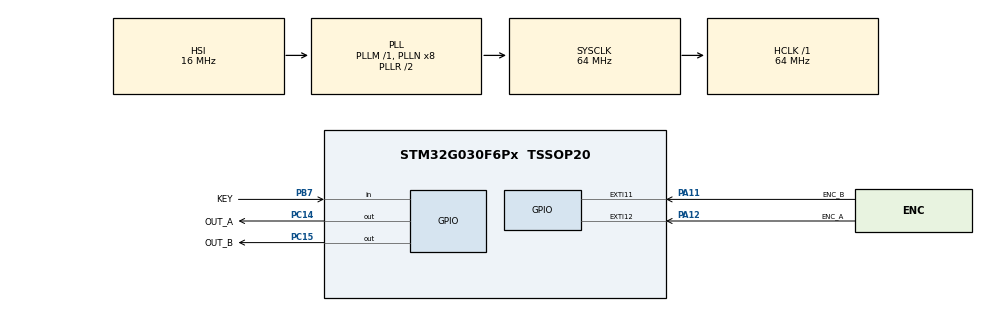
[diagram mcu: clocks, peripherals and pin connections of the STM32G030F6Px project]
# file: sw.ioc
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IWDG.Prescaler=IWDG_PRESCALER_4
IWDG.Reload=256
IWDG.Window=256
Mcu.Family=STM32G0
Mcu.Name=STM32G030F6Px
Mcu.Package=TSSOP20
NVIC.EXTI4_15_IRQn=true\:0\:0\:false\:false\:true\:true\:true\:true
PA11\ [PA9].GPIO_Label=ENC_B
PA11\ [PA9].GPIO_ModeDefaultEXTI=GPIO_MODE_IT_RISING_FALLING
PA11\ [PA9].GPIO_PuPd=GPIO_PULLUP
PA11\ [PA9].Signal=GPXTI11
PA12\ [PA10].GPIO_Label=ENC_A
PA12\ [PA10].GPIO_ModeDefaultEXTI=GPIO_MODE_IT_RISING_FALLING
PA12\ [PA10].GPIO_PuPd=GPIO_PULLUP
PA12\ [PA10].Signal=GPXTI12
PA13.Mode=Serial_Wire
PA13.Signal=SYS_SWDIO
PA14-BOOT0.Mode=Serial_Wire
PA14-BOOT0.Signal=SYS_SWCLK
PA14-BOOT0__PA15.StandardMode=true
PB0__PB1__PB2__PA8.StandardMode=true
PB3__PB4__PB5__PB6.StandardMode=true
PB7.GPIO_Label=KEY
PB7.GPIO_PuPd=GPIO_PULLUP
PB7.Signal=GPIO_Input
PB7__PB8.StandardMode=true
PC14-OSC32_IN\ (PC14).GPIO_Label=OUT_A
PC14-OSC32_IN\ (PC14).GPIO_ModeDefaultOutputPP=GPIO_MODE_OUTPUT_PP
PC14-OSC32_IN\ (PC14).GPIO_PuPd=GPIO_NOPULL
PC14-OSC32_IN\ (PC14).PinState=GPIO_PIN_RESET
PC14-OSC32_IN\ (PC14).Signal=GPIO_Output
PC14-OSC32_IN\ (PC14)__PB9.StandardMode=true
PC15-OSC32_OUT\ (PC15).GPIO_Label=OUT_B
PC15-OSC32_OUT\ (PC15).PinState=GPIO_PIN_RESET
PC15-OSC32_OUT\ (PC15).Signal=GPIO_Output
ProjectManager.HeapSize=0x400
ProjectManager.StackSize=0x400
ProjectManager.TargetToolchain=MDK-ARM V5.32
RCC.ADCFreq_Value=64000000
RCC.AHBFreq_Value=64000000
RCC.CortexFreq_Value=64000000
RCC.EXTERNAL_CLOCK_VALUE=12288000
RCC.HCLKFreq_Value=64000000
RCC.HSE_VALUE=8000000
RCC.HSI_VALUE=16000000
RCC.LSE_VALUE=32768
RCC.SYSCLKFreq_VALUE=64000000
RCC.SYSCLKSource=RCC_SYSCLKSOURCE_PLLCLK
RCC.VCOOutputFreq_Value=128000000
VP_IWDG_VS_IWDG.Mode=IWDG_Activate
board=custom

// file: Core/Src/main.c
/* USER CODE BEGIN Header */
/**
  ******************************************************************************
  * @file           : main.c
  * @brief          : Main program body
  ******************************************************************************
  * @attention
  *
  * Copyright (c) 2023 STMicroelectronics.
  * All rights reserved.
  *
  * This software is licensed under terms that can be found in the LICENSE file
  * in the root directory of this software component.
  * If no LICENSE file comes with this software, it is provided AS-IS.
  *
  ******************************************************************************
  */
/* USER CODE END Header */
#include "main.h"

 IWDG_HandleTypeDef hiwdg;

void SystemClock_Config(void);
static void MX_GPIO_Init(void);
static void MX_IWDG_Init(void);

/* USER CODE BEGIN 0 */

volatile int16_t input_enc_count;
int16_t input_enc_count_temp;
int16_t input_enc_count_bak;

volatile int16_t enc_count = 0;
volatile uint8_t output_enc_step = 0;
volatile int8_t output_enc_count = 0;

void enc_out_task(void){

	if(enc_count > 10)enc_count = 10;
	if(enc_count < -10)enc_count = -10;

	if(output_enc_step > 3)output_enc_step = 0;

	//output step
	if(output_enc_count != 0 && output_enc_count < 3 && output_enc_count > -3){
		if(output_enc_count > 0){
			output_enc_count--;
			if(output_enc_step < 3)
				output_enc_step++;
			else
				output_enc_step = 0;
		}
		else{
			output_enc_count++;
			if(output_enc_step == 0)
				output_enc_step = 3;
			else
				output_enc_step--;
		}

		switch(output_enc_step){
			case 0:
				OUT_A_GPIO_Port->BRR = OUT_A_Pin;	//0
				OUT_B_GPIO_Port->BRR = OUT_B_Pin;	//0
				break;
			case 1:
				OUT_A_GPIO_Port->BRR = OUT_A_Pin;	//0
				OUT_B_GPIO_Port->BSRR = OUT_B_Pin;	//1
				break;
			case 2:
				OUT_A_GPIO_Port->BSRR = OUT_A_Pin;	//1
				OUT_B_GPIO_Port->BSRR = OUT_B_Pin;	//1
				break;
			case 3:
				OUT_A_GPIO_Port->BSRR = OUT_A_Pin;	//1
				OUT_B_GPIO_Port->BRR = OUT_B_Pin;	//0
				break;
		}

		return;
	}

	if(enc_count > 0){
		enc_count--;
		output_enc_count = 2;
	}
	else if(enc_count < 0){
		enc_count++;
		output_enc_count = -2;
	}

}

/* USER CODE END 0 */

int main(void)
{

  /* MCU Configuration--------------------------------------------------------*/

  /* Reset of all peripherals, Initializes the Flash interface and the Systick. */
  HAL_Init();

  /* Configure the system clock */
  SystemClock_Config();

  /* Initialize all configured peripherals */
  MX_GPIO_Init();
  MX_IWDG_Init();

  /* Infinite loop */
  /* USER CODE BEGIN WHILE */
  while (1)
  {
		HAL_IWDG_Refresh(&hiwdg);
//		input_enc_count_temp  = input_enc_count/2;
//		if(input_enc_count_bak != input_enc_count_temp){
//			enc_count += input_enc_count_temp - input_enc_count_bak;
//			input_enc_count_bak += input_enc_count_temp - input_enc_count_bak;
//		}
		if((input_enc_count - 2) >= input_enc_count_bak){
			enc_count--;
			input_enc_count_bak += 2;
		}
		else if((input_enc_count + 2) <= input_enc_count_bak){
			enc_count++;
			input_enc_count_bak -= 2;
		}
		enc_out_task();
		HAL_Delay(1);
    /* USER CODE END WHILE */

  }
}

void SystemClock_Config(void)
{
  RCC_OscInitTypeDef RCC_OscInitStruct = {0};
  RCC_ClkInitTypeDef RCC_ClkInitStruct = {0};

  /** Configure the main internal regulator output voltage
  */
  HAL_PWREx_ControlVoltageScaling(PWR_REGULATOR_VOLTAGE_SCALE1);

  /** Initializes the RCC Oscillators according to the specified parameters
  * in the RCC_OscInitTypeDef structure.
  */
  RCC_OscInitStruct.OscillatorType = RCC_OSCILLATORTYPE_HSI|RCC_OSCILLATORTYPE_LSI;
  RCC_OscInitStruct.HSIState = RCC_HSI_ON;
  RCC_OscInitStruct.HSIDiv = RCC_HSI_DIV1;
  RCC_OscInitStruct.HSICalibrationValue = RCC_HSICALIBRATION_DEFAULT;
  RCC_OscInitStruct.LSIState = RCC_LSI_ON;
  RCC_OscInitStruct.PLL.PLLState = RCC_PLL_ON;
  RCC_OscInitStruct.PLL.PLLSource = RCC_PLLSOURCE_HSI;
  RCC_OscInitStruct.PLL.PLLM = RCC_PLLM_DIV1;
  RCC_OscInitStruct.PLL.PLLN = 8;
  RCC_OscInitStruct.PLL.PLLP = RCC_PLLP_DIV2;
  RCC_OscInitStruct.PLL.PLLR = RCC_PLLR_DIV2;
  if (HAL_RCC_OscConfig(&RCC_OscInitStruct) != HAL_OK)
  {
    Error_Handler();
  }

  /** Initializes the CPU, AHB and APB buses clocks
  */
  RCC_ClkInitStruct.ClockType = RCC_CLOCKTYPE_HCLK|RCC_CLOCKTYPE_SYSCLK
                              |RCC_CLOCKTYPE_PCLK1;
  RCC_ClkInitStruct.SYSCLKSource = RCC_SYSCLKSOURCE_PLLCLK;
  RCC_ClkInitStruct.AHBCLKDivider = RCC_SYSCLK_DIV1;
  RCC_ClkInitStruct.APB1CLKDivider = RCC_HCLK_DIV1;

  if (HAL_RCC_ClockConfig(&RCC_ClkInitStruct, FLASH_LATENCY_2) != HAL_OK)
  {
    Error_Handler();
  }
}

static void MX_IWDG_Init(void)
{

  hiwdg.Instance = IWDG;
  hiwdg.Init.Prescaler = IWDG_PRESCALER_4;
  hiwdg.Init.Window = 256;
  hiwdg.Init.Reload = 256;
  if (HAL_IWDG_Init(&hiwdg) != HAL_OK)
  {
    Error_Handler();
  }

}

static void MX_GPIO_Init(void)
{
  GPIO_InitTypeDef GPIO_InitStruct = {0};

  /* GPIO Ports Clock Enable */
  __HAL_RCC_GPIOB_CLK_ENABLE();
  __HAL_RCC_GPIOC_CLK_ENABLE();
  __HAL_RCC_GPIOA_CLK_ENABLE();

  /*Configure GPIO pin Output Level */
  HAL_GPIO_WritePin(GPIOC, OUT_A_Pin|OUT_B_Pin, GPIO_PIN_RESET);

  /*Configure GPIO pin : KEY_Pin */
  GPIO_InitStruct.Pin = KEY_Pin;
  GPIO_InitStruct.Mode = GPIO_MODE_INPUT;
  GPIO_InitStruct.Pull = GPIO_PULLUP;
  HAL_GPIO_Init(KEY_GPIO_Port, &GPIO_InitStruct);

  /*Configure GPIO pins : OUT_A_Pin OUT_B_Pin */
  GPIO_InitStruct.Pin = OUT_A_Pin|OUT_B_Pin;
  GPIO_InitStruct.Mode = GPIO_MODE_OUTPUT_PP;
  GPIO_InitStruct.Pull = GPIO_NOPULL;
  GPIO_InitStruct.Speed = GPIO_SPEED_FREQ_LOW;
  HAL_GPIO_Init(GPIOC, &GPIO_InitStruct);

  /*Configure GPIO pins : ENC_B_Pin ENC_A_Pin */
  GPIO_InitStruct.Pin = ENC_B_Pin|ENC_A_Pin;
  GPIO_InitStruct.Mode = GPIO_MODE_IT_RISING_FALLING;
  GPIO_InitStruct.Pull = GPIO_PULLUP;
  HAL_GPIO_Init(GPIOA, &GPIO_InitStruct);

  /* EXTI interrupt init*/
  HAL_NVIC_SetPriority(EXTI4_15_IRQn, 0, 0);
  HAL_NVIC_EnableIRQ(EXTI4_15_IRQn);

}

void Error_Handler(void)
{
  __disable_irq();
  while (1)
  {
  }
}
